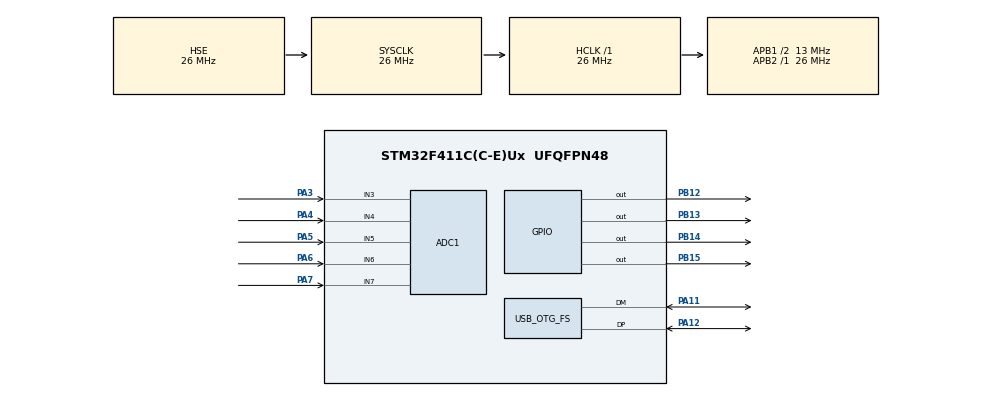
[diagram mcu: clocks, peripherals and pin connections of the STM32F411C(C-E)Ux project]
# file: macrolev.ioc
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ADC1.Channel-0\#ChannelRegularConversion=ADC_CHANNEL_3
ADC1.Channel-4\#ChannelRegularConversion=ADC_CHANNEL_4
ADC1.Channel-5\#ChannelRegularConversion=ADC_CHANNEL_5
ADC1.Channel-6\#ChannelRegularConversion=ADC_CHANNEL_6
ADC1.Channel-7\#ChannelRegularConversion=ADC_CHANNEL_7
ADC1.DiscontinuousConvMode=ENABLE
ADC1.InjNumberOfConversion=0
ADC1.NbrOfConversion=5
ADC1.NbrOfConversionFlag=1
ADC1.Rank-0\#ChannelRegularConversion=1
ADC1.Rank-4\#ChannelRegularConversion=2
ADC1.Rank-5\#ChannelRegularConversion=3
ADC1.Rank-6\#ChannelRegularConversion=4
ADC1.Rank-7\#ChannelRegularConversion=5
ADC1.SamplingTime-0\#ChannelRegularConversion=ADC_SAMPLETIME_3CYCLES
ADC1.SamplingTime-4\#ChannelRegularConversion=ADC_SAMPLETIME_3CYCLES
ADC1.SamplingTime-5\#ChannelRegularConversion=ADC_SAMPLETIME_3CYCLES
ADC1.SamplingTime-6\#ChannelRegularConversion=ADC_SAMPLETIME_3CYCLES
ADC1.SamplingTime-7\#ChannelRegularConversion=ADC_SAMPLETIME_3CYCLES
ADC1.master=1
Mcu.Family=STM32F4
Mcu.Name=STM32F411C(C-E)Ux
Mcu.Package=UFQFPN48
NVIC.OTG_FS_IRQn=true\:0\:0\:false\:false\:true\:true\:true\:true
NVIC.PriorityGroup=NVIC_PRIORITYGROUP_4
PA11.Mode=Device_Only
PA11.Signal=USB_OTG_FS_DM
PA12.Mode=Device_Only
PA12.Signal=USB_OTG_FS_DP
PA13.Signal=SYS_JTMS-SWDIO
PA14.Signal=SYS_JTCK-SWCLK
PA3.Signal=ADCx_IN3
PA4.Signal=ADCx_IN4
PA5.Signal=ADCx_IN5
PA6.Signal=ADCx_IN6
PA7.Signal=ADCx_IN7
PB12.Signal=GPIO_Output
PB13.Signal=GPIO_Output
PB14.Signal=GPIO_Output
PB15.Signal=GPIO_Output
PH0\ -\ OSC_IN.Mode=HSE-External-Oscillator
PH0\ -\ OSC_IN.Signal=RCC_OSC_IN
PH1\ -\ OSC_OUT.Mode=HSE-External-Oscillator
PH1\ -\ OSC_OUT.Signal=RCC_OSC_OUT
ProjectManager.HeapSize=0x200
ProjectManager.StackSize=0x400
ProjectManager.TargetToolchain=STM32CubeIDE
RCC.48MHZClocksFreq_Value=48000000
RCC.AHBFreq_Value=26000000
RCC.APB1CLKDivider=RCC_HCLK_DIV2
RCC.APB1Freq_Value=13000000
RCC.APB1TimFreq_Value=26000000
RCC.APB2Freq_Value=26000000
RCC.APB2TimFreq_Value=26000000
RCC.CortexFreq_Value=26000000
RCC.HCLKFreq_Value=26000000
RCC.HSE_VALUE=26000000
RCC.HSI_VALUE=16000000
RCC.LSE_VALUE=32768
RCC.PLLM=13
RCC.PLLN=120
RCC.PLLP=RCC_PLLP_DIV4
RCC.PLLQ=5
RCC.SYSCLKFreq_VALUE=26000000
RCC.SYSCLKSource=RCC_SYSCLKSOURCE_HSE
RCC.VCOOutputFreq_Value=240000000
SH.ADCx_IN3.0=ADC1_IN3,IN3
SH.ADCx_IN4.0=ADC1_IN4,IN4
SH.ADCx_IN5.0=ADC1_IN5,IN5
SH.ADCx_IN6.0=ADC1_IN6,IN6
SH.ADCx_IN7.0=ADC1_IN7,IN7
USB_OTG_FS.VirtualMode=Device_Only
board=custom

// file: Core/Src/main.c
/* USER CODE BEGIN Header */
/**
 ******************************************************************************
 * @file           : main.c
 * @brief          : Main program body
 ******************************************************************************
 * @attention
 *
 * Copyright (c) 2023 STMicroelectronics.
 * All rights reserved.
 *
 * This software is licensed under terms that can be found in the LICENSE file
 * in the root directory of this software component.
 * If no LICENSE file comes with this software, it is provided AS-IS.
 *
 ******************************************************************************
 */
/* USER CODE END Header */
#include "main.h"

/* USER CODE BEGIN Includes */
#include "tusb.h"
#include "usb_descriptors.h"
#include <stdlib.h>

/* USER CODE END Includes */

ADC_HandleTypeDef hadc1;

PCD_HandleTypeDef hpcd_USB_OTG_FS;

/* USER CODE BEGIN PV */
ADC_ChannelConfTypeDef ADC_channel_Config = {0};

// {adc_channel, amux_channel}
const uint8_t channels_by_row_col[MATRIX_ROWS][MATRIX_COLS][2] = {
    {{0, 10}, {0, 8}, {0, 7}, {0, 5}, {1, 9}, {1, 8}, {1, 6}, {2, 10}, {2, 9}, {2, 7}, {2, 6}, {3, 9}, {3, 8}, {3, 6}, {4, 2}},
    {{0, 11}, {0, 9}, {0, 6}, {0, 4}, {1, 10}, {1, 7}, {1, 5}, {2, 11}, {2, 8}, {2, 5}, {2, 4}, {3, 10}, {3, 7}, {3, 5}, {4, 1}},
    {{0, 12}, {0, 14}, {0, 2}, {1, 11}, {1, 14}, {1, 1}, {1, 4}, {2, 12}, {2, 15}, {2, 3}, {3, 11}, {3, 14}, {3, 1}, {3, 4}, {XXXX, XXXX}},
    {{XXXX, XXXX}, {0, 13}, {0, 0}, {0, 3}, {1, 13}, {1, 15}, {1, 2}, {1, 3}, {2, 14}, {2, 0}, {2, 2}, {3, 12}, {3, 15}, {3, 3}, {XXXX, XXXX}},
    {{XXXX, XXXX}, {0, 15}, {0, 1}, {1, 12}, {XXXX, XXXX}, {1, 0}, {XXXX, XXXX}, {2, 13}, {XXXX, XXXX}, {2, 1}, {3, 13}, {XXXX, XXXX}, {3, 0}, {3, 2}, {4, 0}},
};

// clang-format off
const uint16_t keymaps[2][MATRIX_ROWS][MATRIX_COLS] = {
    [_BASE_LAYER] = {
        {HID_KEY_ESCAPE, HID_KEY_GRAVE, HID_KEY_1, HID_KEY_2, HID_KEY_3, HID_KEY_4, HID_KEY_5, HID_KEY_6, HID_KEY_7, HID_KEY_8, HID_KEY_9, HID_KEY_0, HID_KEY_MINUS, HID_KEY_EQUAL, HID_KEY_BACKSPACE},
        {____, HID_KEY_TAB, HID_KEY_Q, HID_KEY_W, HID_KEY_E, HID_KEY_R, HID_KEY_T, HID_KEY_Y, HID_KEY_U, HID_KEY_I, HID_KEY_O, HID_KEY_P, HID_KEY_BRACKET_LEFT, HID_KEY_BRACKET_RIGHT, HID_KEY_ENTER},
        {____, HID_KEY_CAPS_LOCK, HID_KEY_A, HID_KEY_S, HID_KEY_D, HID_KEY_F, HID_KEY_G, HID_KEY_H, HID_KEY_J, HID_KEY_K, HID_KEY_L, HID_KEY_SEMICOLON, HID_KEY_APOSTROPHE, HID_KEY_EUROPE_1, XXXX},
        {XXXX, HID_KEY_SHIFT_LEFT, HID_KEY_EUROPE_2, HID_KEY_Z, HID_KEY_X, HID_KEY_C, HID_KEY_V, HID_KEY_B, HID_KEY_N, HID_KEY_M, HID_KEY_COMMA, HID_KEY_PERIOD, HID_KEY_SLASH, HID_KEY_SHIFT_RIGHT, XXXX},
        {XXXX, HID_KEY_CONTROL_LEFT, HID_KEY_ALT_LEFT, HID_KEY_GUI_LEFT, XXXX, HID_KEY_SPACE, XXXX, HID_KEY_SPACE, XXXX, HID_KEY_GUI_RIGHT, HID_KEY_ALT_RIGHT, XXXX, HID_KEY_ARROW_LEFT, HID_KEY_ARROW_DOWN, HID_KEY_ARROW_RIGHT},
    },
    [_TAP_LAYER] = {
        {____, ____, ____, ____, ____, ____, ____, ____, ____, ____, ____, ____, ____, ____, ____},
        {____, ____, ____, ____, ____, ____, ____, ____, ____, ____, ____, ____, ____, ____, ____},
        {____, ____, ____, ____, ____, ____, ____, ____, ____, ____, ____, ____, ____, ____, XXXX},
        {XXXX, ____, ____, ____, ____, ____, ____, ____, ____, ____, ____, ____, ____, HID_KEY_ARROW_UP, XXXX},
        {XXXX, ____, ____, ____, XXXX, ____, XXXX, ____, XXXX, ____, ____, XXXX, ____, ____, ____},
    },
};
// clang-format on

const uint32_t adc_channels[ADC_CHANNEL_COUNT] = {ADC_CHANNEL_3, ADC_CHANNEL_4, ADC_CHANNEL_5, ADC_CHANNEL_6, ADC_CHANNEL_7};
const uint32_t amux_select_pins[AMUX_SELECT_PINS_COUNT] = {GPIO_PIN_12, GPIO_PIN_13, GPIO_PIN_14, GPIO_PIN_15};

static struct key keys[ADC_CHANNEL_COUNT][AMUX_CHANNEL_COUNT] = {0};

static uint8_t should_send_report = 0;
static uint8_t can_send_report = 0;

static uint8_t modifiers = 0;
static uint8_t keycodes[6] = {0};
/* USER CODE END PV */

void SystemClock_Config(void);
static void MX_GPIO_Init(void);
static void MX_ADC1_Init(void);
static void MX_USB_OTG_FS_PCD_Init(void);
/* USER CODE BEGIN PFP */
static uint8_t update_key_state(struct key *key);
static void update_key(struct key *key);
static void keys_loop();
static void init_key(uint8_t adc_channel, uint8_t amux_channel, uint8_t row, uint8_t col, uint16_t trigger_offset, uint16_t rapid_trigger_offset, uint8_t is_continuous_rapid_trigger_enabled);
static void keys_init(uint16_t trigger_offset, uint16_t rapid_trigger_offset, uint8_t is_continuous_rapid_trigger_enabled);
static void handle_keycodes(struct key *key);

/* USER CODE END PFP */

int main(void) {

  /* MCU Configuration--------------------------------------------------------*/

  /* Reset of all peripherals, Initializes the Flash interface and the Systick. */
  HAL_Init();

  /* Configure the system clock */
  SystemClock_Config();

  /* Initialize all configured peripherals */
  MX_GPIO_Init();
  MX_ADC1_Init();
  MX_USB_OTG_FS_PCD_Init();
  /* USER CODE BEGIN 2 */

  keys_init(25, 0, 0);

  tud_init(BOARD_TUD_RHPORT);
  can_send_report = 1;

  /* USER CODE END 2 */

  /* Infinite loop */
  /* USER CODE BEGIN WHILE */
  while (1) {
    tud_task();

    keys_loop();

    if (should_send_report && can_send_report && tud_hid_ready()) {
      if (tud_suspended()) {
        tud_remote_wakeup();
      } else {
        can_send_report = 0;
        should_send_report = 0;
        tud_hid_keyboard_report(ITF_NUM_KEYBOARD, modifiers, keycodes);
      }
    }
    /* USER CODE END WHILE */

  }
}

void SystemClock_Config(void) {
  RCC_OscInitTypeDef RCC_OscInitStruct = {0};
  RCC_ClkInitTypeDef RCC_ClkInitStruct = {0};

  /** Configure the main internal regulator output voltage
   */
  __HAL_RCC_PWR_CLK_ENABLE();
  __HAL_PWR_VOLTAGESCALING_CONFIG(PWR_REGULATOR_VOLTAGE_SCALE1);

  /** Initializes the RCC Oscillators according to the specified parameters
   * in the RCC_OscInitTypeDef structure.
   */
  RCC_OscInitStruct.OscillatorType = RCC_OSCILLATORTYPE_HSE;
  RCC_OscInitStruct.HSEState = RCC_HSE_ON;
  RCC_OscInitStruct.PLL.PLLState = RCC_PLL_ON;
  RCC_OscInitStruct.PLL.PLLSource = RCC_PLLSOURCE_HSE;
  RCC_OscInitStruct.PLL.PLLM = 13;
  RCC_OscInitStruct.PLL.PLLN = 120;
  RCC_OscInitStruct.PLL.PLLP = RCC_PLLP_DIV4;
  RCC_OscInitStruct.PLL.PLLQ = 5;
  if (HAL_RCC_OscConfig(&RCC_OscInitStruct) != HAL_OK) {
    Error_Handler();
  }

  /** Initializes the CPU, AHB and APB buses clocks
   */
  RCC_ClkInitStruct.ClockType = RCC_CLOCKTYPE_HCLK | RCC_CLOCKTYPE_SYSCLK | RCC_CLOCKTYPE_PCLK1 | RCC_CLOCKTYPE_PCLK2;
  RCC_ClkInitStruct.SYSCLKSource = RCC_SYSCLKSOURCE_HSE;
  RCC_ClkInitStruct.AHBCLKDivider = RCC_SYSCLK_DIV1;
  RCC_ClkInitStruct.APB1CLKDivider = RCC_HCLK_DIV2;
  RCC_ClkInitStruct.APB2CLKDivider = RCC_HCLK_DIV1;

  if (HAL_RCC_ClockConfig(&RCC_ClkInitStruct, FLASH_LATENCY_0) != HAL_OK) {
    Error_Handler();
  }
}

static void MX_ADC1_Init(void) {

  ADC_ChannelConfTypeDef sConfig = {0};

  /** Configure the global features of the ADC (Clock, Resolution, Data Alignment and number of conversion)
   */
  hadc1.Instance = ADC1;
  hadc1.Init.ClockPrescaler = ADC_CLOCK_SYNC_PCLK_DIV2;
  hadc1.Init.Resolution = ADC_RESOLUTION_12B;
  hadc1.Init.ScanConvMode = ENABLE;
  hadc1.Init.ContinuousConvMode = DISABLE;
  hadc1.Init.DiscontinuousConvMode = ENABLE;
  hadc1.Init.NbrOfDiscConversion = 1;
  hadc1.Init.ExternalTrigConvEdge = ADC_EXTERNALTRIGCONVEDGE_NONE;
  hadc1.Init.ExternalTrigConv = ADC_SOFTWARE_START;
  hadc1.Init.DataAlign = ADC_DATAALIGN_RIGHT;
  hadc1.Init.NbrOfConversion = 5;
  hadc1.Init.DMAContinuousRequests = DISABLE;
  hadc1.Init.EOCSelection = ADC_EOC_SINGLE_CONV;
  if (HAL_ADC_Init(&hadc1) != HAL_OK) {
    Error_Handler();
  }

  /** Configure for the selected ADC regular channel its corresponding rank in the sequencer and its sample time.
   */
  sConfig.Channel = ADC_CHANNEL_3;
  sConfig.Rank = 1;
  sConfig.SamplingTime = ADC_SAMPLETIME_3CYCLES;
  if (HAL_ADC_ConfigChannel(&hadc1, &sConfig) != HAL_OK) {
    Error_Handler();
  }

  /** Configure for the selected ADC regular channel its corresponding rank in the sequencer and its sample time.
   */
  sConfig.Channel = ADC_CHANNEL_4;
  sConfig.Rank = 2;
  if (HAL_ADC_ConfigChannel(&hadc1, &sConfig) != HAL_OK) {
    Error_Handler();
  }

  /** Configure for the selected ADC regular channel its corresponding rank in the sequencer and its sample time.
   */
  sConfig.Channel = ADC_CHANNEL_5;
  sConfig.Rank = 3;
  if (HAL_ADC_ConfigChannel(&hadc1, &sConfig) != HAL_OK) {
    Error_Handler();
  }

  /** Configure for the selected ADC regular channel its corresponding rank in the sequencer and its sample time.
   */
  sConfig.Channel = ADC_CHANNEL_6;
  sConfig.Rank = 4;
  if (HAL_ADC_ConfigChannel(&hadc1, &sConfig) != HAL_OK) {
    Error_Handler();
  }

  /** Configure for the selected ADC regular channel its corresponding rank in the sequencer and its sample time.
   */
  sConfig.Channel = ADC_CHANNEL_7;
  sConfig.Rank = 5;
  if (HAL_ADC_ConfigChannel(&hadc1, &sConfig) != HAL_OK) {
    Error_Handler();
  }
  /* USER CODE BEGIN ADC1_Init 2 */

  // memcpy(&ADC_channel_Config, &sConfig, sizeof(ADC_ChannelConfTypeDef));

  /* USER CODE END ADC1_Init 2 */
}

static void MX_USB_OTG_FS_PCD_Init(void) {

  hpcd_USB_OTG_FS.Instance = USB_OTG_FS;
  hpcd_USB_OTG_FS.Init.dev_endpoints = 4;
  hpcd_USB_OTG_FS.Init.speed = PCD_SPEED_FULL;
  hpcd_USB_OTG_FS.Init.dma_enable = DISABLE;
  hpcd_USB_OTG_FS.Init.phy_itface = PCD_PHY_EMBEDDED;
  hpcd_USB_OTG_FS.Init.Sof_enable = DISABLE;
  hpcd_USB_OTG_FS.Init.low_power_enable = DISABLE;
  hpcd_USB_OTG_FS.Init.lpm_enable = DISABLE;
  hpcd_USB_OTG_FS.Init.vbus_sensing_enable = DISABLE;
  hpcd_USB_OTG_FS.Init.use_dedicated_ep1 = DISABLE;
  if (HAL_PCD_Init(&hpcd_USB_OTG_FS) != HAL_OK) {
    Error_Handler();
  }
}

static void MX_GPIO_Init(void) {
  GPIO_InitTypeDef GPIO_InitStruct = {0};

  /* GPIO Ports Clock Enable */
  __HAL_RCC_GPIOH_CLK_ENABLE();
  __HAL_RCC_GPIOA_CLK_ENABLE();
  __HAL_RCC_GPIOB_CLK_ENABLE();

  /*Configure GPIO pin Output Level */
  HAL_GPIO_WritePin(GPIOB, GPIO_PIN_12 | GPIO_PIN_13 | GPIO_PIN_14 | GPIO_PIN_15, GPIO_PIN_RESET);

  /*Configure GPIO pins : PB12 PB13 PB14 PB15 */
  GPIO_InitStruct.Pin = GPIO_PIN_12 | GPIO_PIN_13 | GPIO_PIN_14 | GPIO_PIN_15;
  GPIO_InitStruct.Mode = GPIO_MODE_OUTPUT_PP;
  GPIO_InitStruct.Pull = GPIO_NOPULL;
  GPIO_InitStruct.Speed = GPIO_SPEED_FREQ_LOW;
  HAL_GPIO_Init(GPIOB, &GPIO_InitStruct);

}

/* USER CODE BEGIN 4 */
uint8_t update_key_state(struct key *key) {
  struct state state;

  // Get a reading
  state.value = HAL_ADC_GetValue(&hadc1);

  if (key->calibration.cycles_count < CALIBRATION_CYCLES) {
    // Calibrate idle value
    key->calibration.idle_value = (1 - 0.6) * state.value + 0.6 * key->calibration.idle_value;
    key->calibration.cycles_count++;

    return 0;
  }

  // Calibrate idle value
  if (state.value > key->calibration.idle_value) {
    // opti possible sur float
    key->calibration.idle_value = (1 - 0.8) * state.value + 0.8 * key->calibration.idle_value;
    state.value = key->calibration.idle_value;
  }

  // maybe deactivate when graph
  if (key->state.distance == 0 && state.value >= key->calibration.idle_value - IDLE_VALUE_OFFSET) {
    // maybe have an idle state and counter (if 5 cycle without changes, do nothing)
    if (key->idle_counter >= IDLE_CYCLES_UNTIL_SLEEP) {
      return 0;
    }
    key->idle_counter++;
  }

  // Get distance from top
  if (state.value >= key->calibration.idle_value - IDLE_VALUE_OFFSET) {
    state.distance = 0;
  } else {
    state.distance = key->calibration.idle_value - state.value;
    key->idle_counter = 0;
  }

  // Calibrate max distance value
  if (state.distance > key->calibration.max_distance) {
    key->calibration.max_distance = state.distance;
  }

  // Limit max distance
  if (state.distance >= key->calibration.max_distance - MAX_DISTANCE_OFFSET) {
    state.distance = key->calibration.max_distance;
  }

  // Map distance in percentages
  state.distance_percentage = (state.distance * 100) / key->calibration.max_distance;

  // Update velocity
  state.velocity = state.distance_percentage - key->state.distance_percentage;

  // Update Acceleration
  state.acceleration = (state.velocity - key->state.velocity) / 2;

  // Update jerk
  state.jerk = (state.acceleration - key->state.acceleration) / 3;

  key->state = state;
  return 1;
}

void update_key(struct key *key) {
  if (!update_key_state(key)) {
    return;
  }

  /**
   * https://www.youtube.com/watch?v=_Sl-T6iQr8U&t
   *
   * |-----| <- FULL RESET      -
   * |     |                    | Continuous rapid trigger domain (deactivated when full_reset)
   * |  -  | <- reset_offset    |
   * |  -  | <- trigger_offset  -
   * |     |                    | Rapid trigger domain
   * |     |                    |
   * |-----|                    -
   *
   */

  uint32_t now = HAL_GetTick();
  // uint8_t is_ready_to_trigger = key->actuation.triggered_at + MIN_TIME_BETWEEN_EVENTS < now;
  // uint8_t has_moved_more_than_min = abs(key->state.distance_percentage - key->actuation.changed_at) > MIN_MOVEMENT_BETWEEN_EVENTS;
  uint8_t is_after_trigger_offset = key->state.distance_percentage > key->actuation.trigger_offset;
  uint8_t is_before_reset_offset = key->state.distance_percentage < key->actuation.trigger_offset - MIN_MOVEMENT_BETWEEN_EVENTS;

  switch (key->actuation.status) {

  case STATUS_RESET:
  case STATUS_RESET_AFTER_TAP: // can be degagé si on stocke le keycode index dans la key et qu'on le cible au reset
    // if reset, can be triggered or tap
    // if (has_moved_more_than_min && is_after_trigger_offset) {
    if (is_after_trigger_offset) {
      if (key->has_tap_layer) {
        key->actuation.status = STATUS_MIGHT_BE_TAP;
      } else {
        key->actuation.status = STATUS_TRIGGERED;
        handle_keycodes(key);
      }
      key->actuation.changed_at = key->state.distance_percentage;
      key->actuation.triggered_at = now;
    }
    break;

  case STATUS_MIGHT_BE_TAP:
    // if might be tap, can be tap or triggered
    if (is_before_reset_offset && now - key->actuation.triggered_at <= TAP_TIMEOUT) {
      key->actuation.status = STATUS_TAP;
      handle_keycodes(key);
    } else if (now - key->actuation.triggered_at > TAP_TIMEOUT) {
      key->actuation.status = STATUS_TRIGGERED;
      handle_keycodes(key);
    }
    break;

  case STATUS_TAP:
    // if tap, can be reset
    key->actuation.status = STATUS_RESET_AFTER_TAP;
    key->actuation.changed_at = key->state.distance_percentage;
    handle_keycodes(key);
    break;

  case STATUS_TRIGGERED:
    // if triggered, can be reset
    if (is_before_reset_offset) {
      key->actuation.status = STATUS_RESET;
      key->actuation.changed_at = key->state.distance_percentage;
      handle_keycodes(key);
    }
    break;
  }
}

void keys_loop() {
  for (uint8_t amux_channel = 0; amux_channel < AMUX_CHANNEL_COUNT; amux_channel++) {
    for (uint8_t i = 0; i < AMUX_SELECT_PINS_COUNT; i++) {
      HAL_GPIO_WritePin(GPIOB, amux_select_pins[i], (amux_channel >> i) & 1);
    }

    for (uint8_t adc_channel = 0; adc_channel < ADC_CHANNEL_COUNT; adc_channel++) {
      HAL_ADC_Start(&hadc1);
      // opti possible adc channel
      HAL_ADC_PollForConversion(&hadc1, 1);

      if (keys[adc_channel][amux_channel].is_enabled == 1) {
        update_key(&keys[adc_channel][amux_channel]);
      }
    }
    HAL_ADC_Stop(&hadc1);
  }
};

void init_key(uint8_t adc_channel, uint8_t amux_channel, uint8_t row, uint8_t col, uint16_t trigger_offset, uint16_t rapid_trigger_offset, uint8_t is_continuous_rapid_trigger_enabled) {
  struct key *key = &keys[adc_channel][amux_channel];

  key->is_enabled = 1;
  key->has_tap_layer = keymaps[_TAP_LAYER][row][col] != ____;
  key->modifier_bitmask = NO_MODIFIER_BITMASK;

  key->row = row;
  key->column = col;

  key->calibration.cycles_count = 0;
  key->calibration.idle_value = IDLE_VALUE_APPROX;
  key->calibration.max_distance = MAX_DISTANCE_APPROX;

  key->actuation.status = STATUS_RESET;
  key->actuation.changed_at = 0;
  key->actuation.trigger_offset = trigger_offset;
  key->actuation.rapid_trigger_offset = rapid_trigger_offset;
  key->actuation.is_continuous_rapid_trigger_enabled = is_continuous_rapid_trigger_enabled;
}

void keys_init(uint16_t trigger_offset, uint16_t rapid_trigger_offset, uint8_t is_continuous_rapid_trigger_enabled) {
  for (uint8_t row = 0; row < MATRIX_ROWS; row++) {
    for (uint8_t col = 0; col < MATRIX_COLS; col++) {
      if (channels_by_row_col[row][col][0] != XXXX) {
        init_key(channels_by_row_col[row][col][0], channels_by_row_col[row][col][1], row, col, trigger_offset, rapid_trigger_offset, is_continuous_rapid_trigger_enabled);
      }
    }
  }
}

uint8_t get_bitmask_for_modifier(uint8_t keycode) {
  switch (keycode) {
  case HID_KEY_CONTROL_LEFT:
    return 0b00000001;
  case HID_KEY_SHIFT_LEFT:
    return 0b00000010;
  case HID_KEY_ALT_LEFT:
    return 0b00000100;
  case HID_KEY_GUI_LEFT:
    return 0b00001000;
  case HID_KEY_CONTROL_RIGHT:
    return 0b00010000;
  case HID_KEY_SHIFT_RIGHT:
    return 0b00100000;
  case HID_KEY_ALT_RIGHT:
    return 0b01000000;
  case HID_KEY_GUI_RIGHT:
    return 0b10000000;
  default:
    return NO_MODIFIER_BITMASK;
  }
}

void handle_keycodes(struct key *key) {
  uint8_t row = key->row;
  uint8_t column = key->column;

  switch (key->actuation.status) {
  case STATUS_TRIGGERED:
    key->modifier_bitmask = get_bitmask_for_modifier(keymaps[_BASE_LAYER][row][column]);
    if (key->modifier_bitmask != NO_MODIFIER_BITMASK) {
      modifiers |= key->modifier_bitmask;
      should_send_report = 1;
    } else {
      for (uint8_t i = 0; i < 6; i++) {
        if (keycodes[i] == 0) {
          keycodes[i] = keymaps[_BASE_LAYER][row][column];
          should_send_report = 1;
          break;
        }
      }
    }
    break;

  case STATUS_TAP:
    key->modifier_bitmask = get_bitmask_for_modifier(keymaps[_TAP_LAYER][row][column]);
    if (key->modifier_bitmask == NO_MODIFIER_BITMASK) {
      for (uint8_t i = 0; i < 6; i++) {
        if (keycodes[i] == 0) {
          keycodes[i] = keymaps[_TAP_LAYER][row][column];
          should_send_report = 1;
          break;
        }
      }
    }
    break;

  case STATUS_RESET_AFTER_TAP:
    if (key->modifier_bitmask == NO_MODIFIER_BITMASK) {
      for (uint8_t i = 0; i < 6; i++) {
        if (keycodes[i] == keymaps[_TAP_LAYER][row][column]) {
          keycodes[i] = 0;
          break;
        }
      }
    }
    should_send_report = 1;
    break;

  case STATUS_RESET:
    if (key->modifier_bitmask != NO_MODIFIER_BITMASK) {
      modifiers &= ~key->modifier_bitmask;
      key->modifier_bitmask = NO_MODIFIER_BITMASK;
    } else {
      for (uint8_t i = 0; i < 6; i++) {
        if (keycodes[i] == keymaps[_BASE_LAYER][row][column]) {
          keycodes[i] = 0;
          break;
        }
      }
    }
    should_send_report = 1;
    break;
  }
}

// Invoked when received SET_PROTOCOL request
// protocol is either HID_PROTOCOL_BOOT (0) or HID_PROTOCOL_REPORT (1)
void tud_hid_set_protocol_cb(uint8_t instance, uint8_t protocol) {
  (void)instance;
  (void)protocol;

  // nothing to do since we use the same compatible boot report for both Boot and Report mode.
  // TODO set a indicator for user
}

// Invoked when sent REPORT successfully to host
// Application can use this to send the next report
// Note: For composite reports, report[0] is report ID
void tud_hid_report_complete_cb(uint8_t instance, uint8_t const *report, uint16_t len) {
  (void)instance;
  (void)report;
  (void)len;

  can_send_report = 1;
}

// Invoked when received GET_REPORT control request
// Application must fill buffer report's content and return its length.
// Return zero will cause the stack to STALL request
uint16_t tud_hid_get_report_cb(uint8_t instance, uint8_t report_id, hid_report_type_t report_type, uint8_t *buffer, uint16_t reqlen) {
  // TODO not Implemented
  (void)instance;
  (void)report_id;
  (void)report_type;
  (void)buffer;
  (void)reqlen;

  return 0;
}

// Invoked when received SET_REPORT control request or
// received data on OUT endpoint ( Report ID = 0, Type = 0 )
void tud_hid_set_report_cb(uint8_t instance, uint8_t report_id, hid_report_type_t report_type, uint8_t const *buffer, uint16_t bufsize) {
  (void)report_id;
}

/* USER CODE END 4 */

void Error_Handler(void) {
  __disable_irq();
  while (1) {
  }
}
